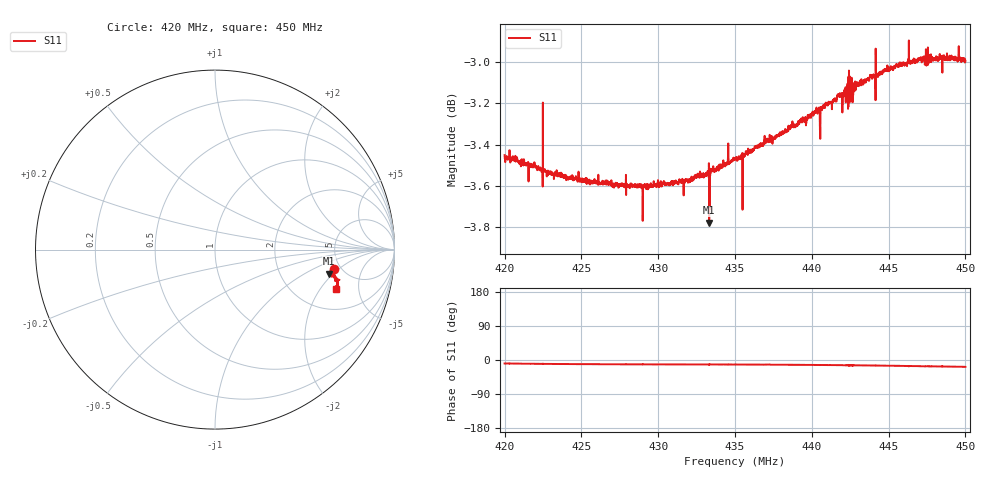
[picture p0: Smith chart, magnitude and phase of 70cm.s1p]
! Calibrated averaged scanner-service zoom
# Hz S RI R 50
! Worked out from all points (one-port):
!   3001 points, 420 MHz to 450 MHz, reference 50 ohm
!   lowest |S11| = -3.8 dB at 433.3 MHz (marker M1), VSWR 4.67, Z = 191 - j87.6 ohm
!   |S11| at or under -10 dB: nowhere
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4.2e8  0.6635 -0.1074
4.2034e8  0.6622 -0.1082
4.2175e8  0.6584 -0.1149
4.2375e8  0.6535 -0.1229
4.2471e8  0.6516 -0.1247
4.275e8  0.6482 -0.1298
4.2911e8  0.6479 -0.1324
4.3125e8  0.6482 -0.1339
4.3173e8  0.6493 -0.1337
4.326e8  0.6511 -0.1352
4.3332e8  0.6333 -0.1334
4.3347e8  0.652 -0.1368
4.35e8  0.6562 -0.1387
4.3534e8  0.6566 -0.139
4.3736e8  0.6631 -0.1445
4.3875e8  0.6672 -0.1503
4.4036e8  0.6701 -0.1562
4.4051e8  0.6721 -0.1567
4.4083e8  0.6728 -0.1583
4.4212e8  0.6748 -0.1654
4.425e8  0.6738 -0.1717
4.4275e8  0.6767 -0.1677
4.4282e8  0.6792 -0.171
4.4396e8  0.6802 -0.1769
4.4405e8  0.6795 -0.177
4.4625e8  0.6816 -0.193
4.4845e8  0.6783 -0.2091
4.5e8  0.6736 -0.2199
